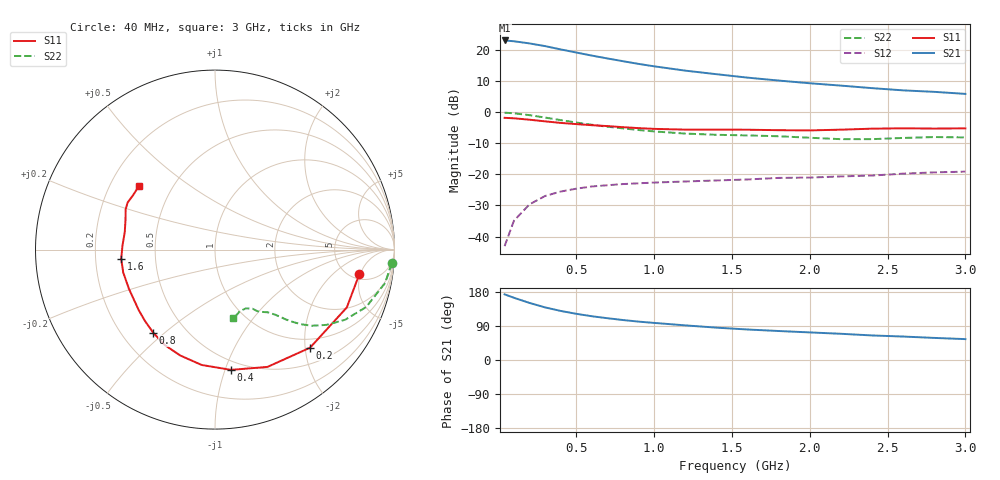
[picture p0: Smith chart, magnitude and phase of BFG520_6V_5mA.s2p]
! Filename:  BFG520H.S2P  Version:  2.1
! Philips part #: BFG520  Date: Feb 1992
! Bias condition: Vce=6V, Ic=5mA
! IN LINE PINNING: same data as with cross emitter pinning.
#  MHz  S  MA  R  50
! Freq  S11  S21  S12  S22  !GUM [dB]
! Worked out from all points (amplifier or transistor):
!   21 points, 40 MHz to 3 GHz, reference 50 ohm
!   highest |S21| = 23.2 dB at 40 MHz (marker M1)
!   |S21| within 3 dB of that: start of sweep to 411.7 MHz
!   unconditionally stable (mu >= 1): 1.807 GHz to end of sweep
!   at 300 MHz: K = 0.19, MSG = 24.1 dB, |S12| = -26.9 dB
!   at 1 GHz: K = 0.63, MSG = 18.7 dB, |S12| = -22.6 dB
!   at 3 GHz: K = 1.29, MAG = 9.3 dB, |S12| = -19.1 dB
!   lowest NFmin = 0.90 dB at 500 MHz
!   S11 on the Smith chart (normalised r, x): 40 MHz: 5.89, -4.80; 200 MHz: 0.81, -2.10; 400 MHz: 0.42, -1.05; 800 MHz: 0.33, -0.46; 1.6 GHz: 0.31, -0.04; 3 GHz: 0.32, +0.33
40  0.816 -9.6  14.37 173.3  0.007 84.3  0.987 -4.5
100  0.802 -23.7  13.95 164.2  0.018 78.1  0.966 -11.1
200  0.761 -45.9  12.88 150.6  0.033 67.3  0.901 -20.8
300  0.716 -65.9  11.66 138.8  0.045 59.2  0.824 -28.3
400  0.676 -82.4  10.31 129.5  0.053 53.4  0.75 -34.0
500  0.647 -96.6  9.188 121.9  0.059 48.8  0.686 -38.2
600  0.621 -108.1  8.202 115.5  0.064 45.8  0.632 -41.1
700  0.601 -117.8  7.379 110.3  0.067 43.2  0.587 -43.1
800  0.577 -126.6  6.665 105.5  0.07 42.3  0.552 -44.7
900  0.557 -134.5  6.028 101.3  0.072 41.6  0.519 -46.0
1000  0.542 -141.8  5.513 97.9  0.074 41.4  0.493 -47.3
1200  0.527 -155.4  4.695 91.4  0.077 41.0  0.455 -50.1
1400  0.527 -166.0  4.116 85.4  0.08 41.1  0.435 -53.0
1600  0.525 -174.4  3.623 80.5  0.083 43.3  0.425 -54.6
1800  0.516 177.5  3.25 76.5  0.088 44.6  0.412 -55.8
2000  0.512 169.1  2.941 72.8  0.089 46.6  0.39 -57.6
2200  0.526 161.4  2.695 69.2  0.093 47.4  0.37 -62.1
2400  0.546 155.8  2.454 64.8  0.096 49.9  0.37 -68.0
2600  0.553 151.7  2.259 61.9  0.103 51.8  0.387 -72.5
2800  0.548 146.7  2.138 58.3  0.108 52.2  0.4 -74.2
3000  0.552 140.3  1.982 55.1  0.111 54.5  0.395 -75.4
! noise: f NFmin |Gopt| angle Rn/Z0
500  0.9  0.439  29  0.27
900  1.1  0.395  49  0.28
1000  1.15  0.4  53  0.29
2000  1.85  0.312  126  0.17
